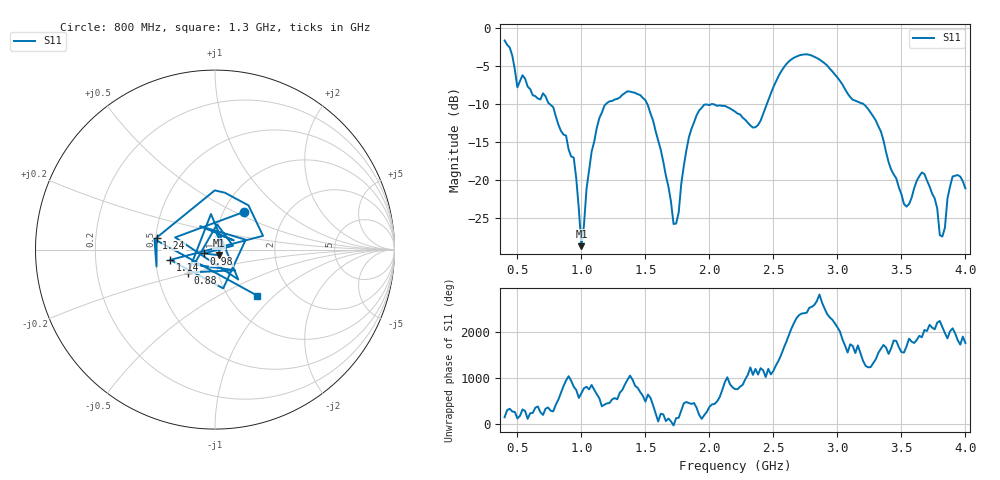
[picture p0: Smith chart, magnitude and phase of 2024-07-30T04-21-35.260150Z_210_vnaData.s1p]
!Created with skrf (http://scikit-rf.org).
# Hz S RI R 50.0
!freq ReS11 ImS11
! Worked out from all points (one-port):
!   181 points, 400 MHz to 4 GHz, reference 50 ohm
!   lowest |S11| = -28.6 dB at 1 GHz (marker M1), VSWR 1.08, Z = 51.9 - j3.25 ohm
!   |S11| at or under -10 dB: 752.7 MHz to 1.191 GHz (438.7 MHz wide, 45.1 % of centre); 1.515 GHz to 2.017 GHz (502.2 MHz wide, 28.4 % of centre); 3.204 GHz to end of sweep (the widest 3 of 4)
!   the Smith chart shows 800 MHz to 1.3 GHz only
!   S11 on the Smith chart (normalised r, x): 800 MHz: 1.24, +0.56; 880 MHz: 0.72, -0.19; 980 MHz: 0.88, -0.04; 1.14 GHz: 0.60, -0.07; 1.24 GHz: 0.51, +0.08; 1.3 GHz: 1.35, -0.79
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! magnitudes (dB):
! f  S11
! 400 MHz  -1.6
! 500 MHz  -7.8
! 800 MHz  -11.6
! 860 MHz  -14.0
! 880 MHz  -14.1
! 940 MHz  -17.0
! 980 MHz  -23.8
! 1 GHz  -28.6
! 1.08 GHz  -16.2
! 1.14 GHz  -11.8
! 1.24 GHz  -9.6
! 1.3 GHz  -9.1
! 1.5 GHz  -9.5
! 1.62 GHz  -16.0
! 1.72 GHz  -25.7
! 1.76 GHz  -24.2
! 1.84 GHz  -14.3
! 1.92 GHz  -10.8
! 2.2 GHz  -11.0
! 2.38 GHz  -12.7
! 2.66 GHz  -3.9
! 3.1 GHz  -9.1
! 3.3 GHz  -12.1
! 3.56 GHz  -23.1
! 3.68 GHz  -19.2
! 3.82 GHz  -27.4
! 3.9 GHz  -19.5
! 4 GHz  -21.1
